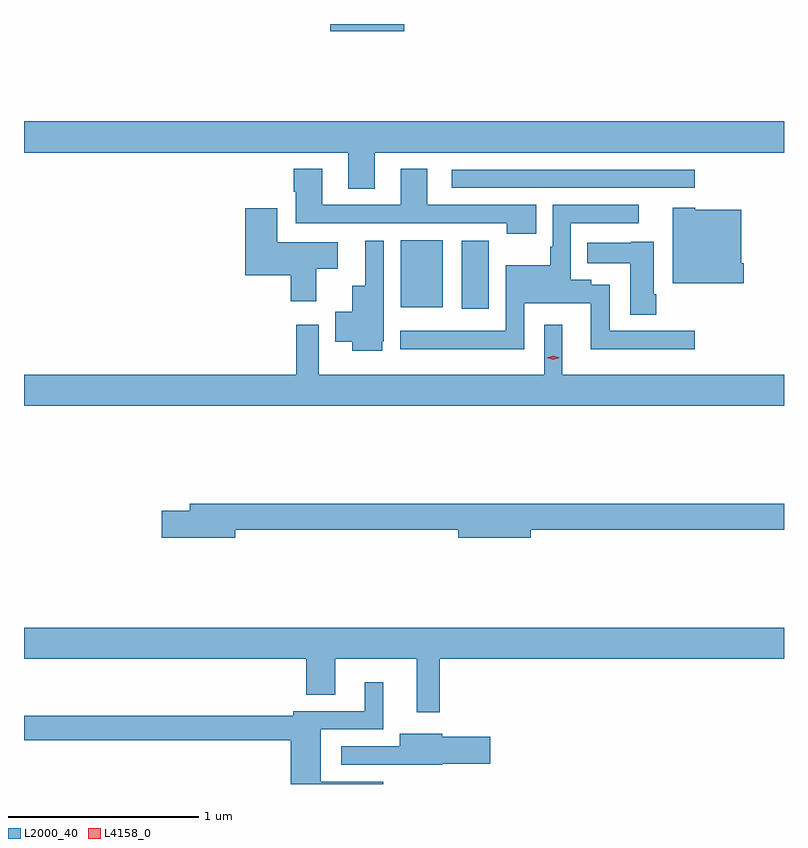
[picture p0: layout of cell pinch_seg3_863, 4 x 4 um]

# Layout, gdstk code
import gdstk
lib = gdstk.Library(unit=1e-6, precision=1e-09)
def R(c, l, rs):  # rectangles x0, y0, x1, y1
    for r in rs: c.add(gdstk.rectangle(r[:2], r[2:], *l))
def P(c, l, *ps):  # polygons
    for p in ps: c.add(gdstk.Polygon(p, *l))
L2000_40 = (2000, 40)
L4158_0 = (4158, 0)

pinch_seg3_863 = lib.new_cell('pinch_seg3_863')
R(pinch_seg3_863, L2000_40, [(702.602,701.427,702.745,701.785), (702.281,701.435,702.502,701.788), (702.549,702.063,703.828,702.159), (701.91,702.886,702.298,702.925)])
P(pinch_seg3_863, L2000_40, [(702.145,702.248),(704.298,702.248),(704.298,702.412),(700.298,702.412),(700.298,702.248),(702.005,702.248),(702.005,702.058),(702.145,702.058)],
  [(702.995,701.973),(702.421,701.973),(702.421,702.163),(702.281,702.163),(702.281,701.973),(701.869,701.973),(701.869,702.163),(701.717,702.163),(701.717,702.043),(701.729,702.043),(701.729,701.877),(702.839,701.877),(702.839,701.82),(702.995,701.82)],
  [(702.93,701.456),(703.28,701.456),(703.28,701.213),(703.828,701.213),(703.828,701.31),(703.381,701.31),(703.381,701.553),(703.284,701.553),(703.284,701.578),(703.176,701.578),(703.176,701.877),(703.534,701.877),(703.534,701.973),(703.08,701.973),(703.08,701.752),(703.068,701.752),(703.068,701.656),(702.834,701.656),(702.834,701.31),(702.278,701.31),(702.278,701.213),(702.93,701.213)],
  [(704.087,701.665),(704.074,701.665),(704.074,701.947),(703.83,701.947),(703.83,701.959),(703.712,701.959),(703.712,701.561),(704.087,701.561)],
  [(701.836,701.636),(701.95,701.636),(701.95,701.776),(701.632,701.776),(701.632,701.956),(701.462,701.956),(701.462,701.603),(701.702,701.603),(701.702,701.466),(701.836,701.466)],
  [(702.184,701.256),(702.192,701.256),(702.192,701.785),(702.095,701.785),(702.095,701.548),(702.026,701.548),(702.026,701.41),(701.936,701.41),(701.936,701.252),(702.026,701.252),(702.026,701.204),(702.184,701.204)],
  [(703.625,701.503),(703.612,701.503),(703.612,701.779),(703.494,701.779),(703.494,701.773),(703.263,701.773),(703.263,701.666),(703.49,701.666),(703.49,701.395),(703.625,701.395)],
  [(704.298,701.08),(703.132,701.08),(703.132,701.341),(703.035,701.341),(703.035,701.08),(701.848,701.08),(701.848,701.341),(701.731,701.341),(701.731,701.08),(700.298,701.08),(700.298,700.916),(704.298,700.916)],
  [(701.41,700.264),(702.584,700.264),(702.584,700.222),(702.964,700.222),(702.964,700.264),(704.298,700.264),(704.298,700.4),(701.171,700.4),(701.171,700.364),(701.022,700.364),(701.022,700.222),(701.41,700.222)],
  [(702.487,699.584),(704.298,699.584),(704.298,699.748),(700.298,699.748),(700.298,699.584),(701.783,699.584),(701.783,699.394),(701.935,699.394),(701.935,699.584),(702.365,699.584),(702.365,699.303),(702.487,699.303)],
  [(702.19,698.938),(701.86,698.938),(701.86,699.213),(702.19,699.213),(702.19,699.46),(702.092,699.46),(702.092,699.309),(701.714,699.309),(701.714,699.283),(700.298,699.283),(700.298,699.154),(701.702,699.154),(701.702,698.925),(702.19,698.925)],
  [(702.498,699.032),(702.751,699.032),(702.751,699.174),(702.498,699.174),(702.498,699.19),(702.275,699.19),(702.275,699.123),(701.967,699.123),(701.967,699.027),(702.279,699.027),(702.279,699.026),(702.498,699.026)])
P(pinch_seg3_863, L4158_0, [(703.083,701.158),(703.048,701.168),(703.048,701.168),(703.048,701.168),(703.083,701.178),(703.118,701.168),(703.118,701.168),(703.118,701.168)])

lib.write_gds('pinch_seg3_863.gds')
